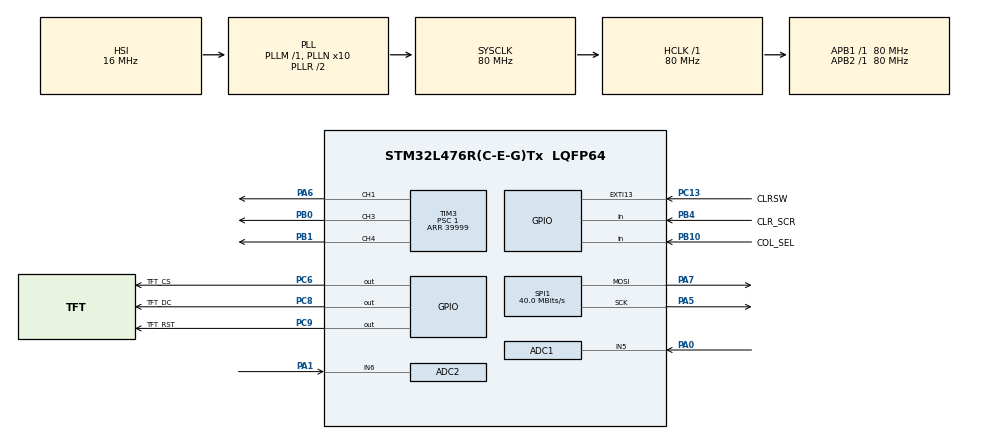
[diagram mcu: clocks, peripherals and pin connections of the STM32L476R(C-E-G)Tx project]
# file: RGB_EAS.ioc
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ADC1.Channel-0\#ChannelRegularConversion=ADC_CHANNEL_5
ADC1.NbrOfConversionFlag=1
ADC1.OffsetNumber-0\#ChannelRegularConversion=ADC_OFFSET_NONE
ADC1.Rank-0\#ChannelRegularConversion=1
ADC1.SamplingTime-0\#ChannelRegularConversion=ADC_SAMPLETIME_2CYCLES_5
ADC1.master=1
ADC2.Channel-0\#ChannelRegularConversion=ADC_CHANNEL_6
ADC2.NbrOfConversionFlag=1
ADC2.OffsetNumber-0\#ChannelRegularConversion=ADC_OFFSET_NONE
ADC2.Rank-0\#ChannelRegularConversion=1
ADC2.SamplingTime-0\#ChannelRegularConversion=ADC_SAMPLETIME_2CYCLES_5
Mcu.Family=STM32L4
Mcu.Name=STM32L476R(C-E-G)Tx
Mcu.Package=LQFP64
NVIC.ADC1_2_IRQn=true\:0\:0\:false\:false\:true\:true\:true\:true
NVIC.EXTI15_10_IRQn=true\:0\:0\:false\:false\:true\:true\:true\:true
NVIC.PriorityGroup=NVIC_PRIORITYGROUP_4
NVIC.SPI1_IRQn=true\:0\:0\:false\:false\:true\:true\:true\:true
NVIC.TIM1_UP_TIM16_IRQn=true\:0\:0\:false\:false\:true\:true\:true\:true
PA0.Signal=ADCx_IN5
PA1.Signal=ADCx_IN6
PA13\ (JTMS-SWDIO).GPIO_Label=TMS
PA13\ (JTMS-SWDIO).Mode=Serial_Wire
PA13\ (JTMS-SWDIO).Signal=SYS_JTMS-SWDIO
PA14\ (JTCK-SWCLK).GPIO_Label=TCK
PA14\ (JTCK-SWCLK).Mode=Serial_Wire
PA14\ (JTCK-SWCLK).Signal=SYS_JTCK-SWCLK
PA5.Mode=TX_Only_Simplex_Unidirect_Master
PA5.Signal=SPI1_SCK
PA6.Signal=S_TIM3_CH1
PA7.Mode=TX_Only_Simplex_Unidirect_Master
PA7.Signal=SPI1_MOSI
PB0.Signal=S_TIM3_CH3
PB1.Signal=S_TIM3_CH4
PB10.GPIO_Label=COL_SEL
PB10.Signal=GPIO_Input
PB3\ (JTDO-TRACESWO).GPIO_Label=SWO
PB3\ (JTDO-TRACESWO).Signal=SYS_JTDO-SWO
PB4\ (NJTRST).GPIO_Label=CLR_SCR
PB4\ (NJTRST).Signal=GPIO_Input
PC13.GPIO_Label=CLRSW
PC13.Signal=GPXTI13
PC14-OSC32_IN\ (PC14).Mode=LSE-External-Oscillator
PC14-OSC32_IN\ (PC14).Signal=RCC_OSC32_IN
PC15-OSC32_OUT\ (PC15).Mode=LSE-External-Oscillator
PC15-OSC32_OUT\ (PC15).Signal=RCC_OSC32_OUT
PC6.GPIO_Label=TFT_CS
PC6.Signal=GPIO_Output
PC8.GPIO_Label=TFT_DC
PC8.Signal=GPIO_Output
PC9.GPIO_Label=TFT_RST
PC9.Signal=GPIO_Output
PH0-OSC_IN\ (PH0).Signal=RCC_OSC_IN
PH1-OSC_OUT\ (PH1).Signal=RCC_OSC_OUT
ProjectManager.HeapSize=0x200
ProjectManager.StackSize=0x400
ProjectManager.TargetToolchain=STM32CubeIDE
RCC.ADCFreq_Value=64000000
RCC.AHBFreq_Value=80000000
RCC.APB1Freq_Value=80000000
RCC.APB1TimFreq_Value=80000000
RCC.APB2Freq_Value=80000000
RCC.APB2TimFreq_Value=80000000
RCC.CortexFreq_Value=80000000
RCC.HCLKFreq_Value=80000000
RCC.HSE_VALUE=8000000
RCC.HSI_VALUE=16000000
RCC.MSI_VALUE=4000000
RCC.PLLN=10
RCC.PLLSourceVirtual=RCC_PLLSOURCE_HSI
RCC.PREFETCH_ENABLE=1
RCC.SYSCLKFreq_VALUE=80000000
RCC.SYSCLKSource=RCC_SYSCLKSOURCE_PLLCLK
RCC.USBFreq_Value=64000000
RCC.VCOOutputFreq_Value=160000000
SH.ADCx_IN5.0=ADC1_IN5,IN5-Single-Ended
SH.ADCx_IN6.0=ADC2_IN6,IN6-Single-Ended
SH.S_TIM3_CH1.0=TIM3_CH1,PWM Generation1 CH1
SH.S_TIM3_CH3.0=TIM3_CH3,PWM Generation3 CH3
SH.S_TIM3_CH4.0=TIM3_CH4,PWM Generation4 CH4
SPI1.CalculateBaudRate=40.0 MBits/s
SPI1.DataSize=SPI_DATASIZE_8BIT
SPI1.Direction=SPI_DIRECTION_2LINES
SPI1.Mode=SPI_MODE_MASTER
SPI1.VirtualType=VM_MASTER
TIM16.AutoReloadPreload=TIM_AUTORELOAD_PRELOAD_ENABLE
TIM16.Period=64
TIM16.Prescaler=7999
TIM3.AutoReloadPreload=TIM_AUTORELOAD_PRELOAD_ENABLE
TIM3.Channel-PWM\ Generation1\ CH1=TIM_CHANNEL_1
TIM3.Channel-PWM\ Generation3\ CH3=TIM_CHANNEL_3
TIM3.Channel-PWM\ Generation4\ CH4=TIM_CHANNEL_4
TIM3.Period=39999
TIM3.Prescaler=1
VP_TIM16_VS_ClockSourceINT.Mode=Enable_Timer
VP_TIM3_VS_ClockSourceINT.Mode=Internal
board=NUCLEO-L476RG

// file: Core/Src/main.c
/* USER CODE BEGIN Header */
/**
  ******************************************************************************
  * @file           : main.c
  * @brief          : Main program body
  ******************************************************************************
  * @attention
  *
  * Copyright (c) 2025 STMicroelectronics.
  * All rights reserved.
  *
  * This software is licensed under terms that can be found in the LICENSE file
  * in the root directory of this software component.
  * If no LICENSE file comes with this software, it is provided AS-IS.
  *
  ******************************************************************************
  */
/* USER CODE END Header */
#include "main.h"

/* USER CODE BEGIN Includes */
#include "ili9488.h"
/* USER CODE END Includes */

ADC_HandleTypeDef hadc1;
ADC_HandleTypeDef hadc2;

SPI_HandleTypeDef hspi1;

TIM_HandleTypeDef htim3;
TIM_HandleTypeDef htim16;

/* USER CODE BEGIN PV */
uint16_t x_loc = 200;
uint16_t y_loc = 200;
uint8_t cursor_size = 4;
uint16_t current_color=ILI9488_BLACK;
uint16_t c_range=0;
uint16_t red_int=0;
uint16_t green_int=0;
uint16_t blue_int=0;
/* USER CODE END PV */

void SystemClock_Config(void);
void PeriphCommonClock_Config(void);
static void MX_GPIO_Init(void);
static void MX_ADC1_Init(void);
static void MX_ADC2_Init(void);
static void MX_SPI1_Init(void);
static void MX_TIM3_Init(void);
static void MX_TIM16_Init(void);

int main(void)
{

  /* MCU Configuration--------------------------------------------------------*/

  /* Reset of all peripherals, Initializes the Flash interface and the Systick. */
  HAL_Init();

  /* Configure the system clock */
  SystemClock_Config();

  /* Configure the peripherals common clocks */
  PeriphCommonClock_Config();

  /* Initialize all configured peripherals */
  MX_GPIO_Init();
  MX_ADC1_Init();
  MX_ADC2_Init();
  MX_SPI1_Init();
  MX_TIM3_Init();
  MX_TIM16_Init();
  /* USER CODE BEGIN 2 */
  __HAL_SPI_ENABLE(&hspi1);
  ILI9488_Init();

  HAL_Delay(1000);
	setRotation(1);
	fillScreen(ILI9488_WHITE);

	HAL_TIM_Base_Start_IT(&htim16); // Start Timer16 -- issue here, wont continue/breaks
	HAL_TIM_PWM_Start(&htim3, TIM_CHANNEL_1); // start PWM on Timer3’s Channel 1
	HAL_TIM_PWM_Start(&htim3, TIM_CHANNEL_3); // start PWM on Timer3’s Channel 3
	HAL_TIM_PWM_Start(&htim3, TIM_CHANNEL_4); // start PWM on Timer3’s Channel 4
  /* USER CODE END 2 */

  /* Infinite loop */
  while (1)
  {

    /* USER CODE BEGIN 3 */
	  fillRect(x_loc,y_loc,cursor_size,cursor_size,current_color); //this is your active cursor.

  }
  /* USER CODE END 3 */
}

void SystemClock_Config(void)
{
  RCC_OscInitTypeDef RCC_OscInitStruct = {0};
  RCC_ClkInitTypeDef RCC_ClkInitStruct = {0};

  /** Configure the main internal regulator output voltage
  */
  if (HAL_PWREx_ControlVoltageScaling(PWR_REGULATOR_VOLTAGE_SCALE1) != HAL_OK)
  {
    Error_Handler();
  }

  /** Initializes the RCC Oscillators according to the specified parameters
  * in the RCC_OscInitTypeDef structure.
  */
  RCC_OscInitStruct.OscillatorType = RCC_OSCILLATORTYPE_HSI;
  RCC_OscInitStruct.HSIState = RCC_HSI_ON;
  RCC_OscInitStruct.HSICalibrationValue = RCC_HSICALIBRATION_DEFAULT;
  RCC_OscInitStruct.PLL.PLLState = RCC_PLL_ON;
  RCC_OscInitStruct.PLL.PLLSource = RCC_PLLSOURCE_HSI;
  RCC_OscInitStruct.PLL.PLLM = 1;
  RCC_OscInitStruct.PLL.PLLN = 10;
  RCC_OscInitStruct.PLL.PLLP = RCC_PLLP_DIV7;
  RCC_OscInitStruct.PLL.PLLQ = RCC_PLLQ_DIV2;
  RCC_OscInitStruct.PLL.PLLR = RCC_PLLR_DIV2;
  if (HAL_RCC_OscConfig(&RCC_OscInitStruct) != HAL_OK)
  {
    Error_Handler();
  }

  /** Initializes the CPU, AHB and APB buses clocks
  */
  RCC_ClkInitStruct.ClockType = RCC_CLOCKTYPE_HCLK|RCC_CLOCKTYPE_SYSCLK
                              |RCC_CLOCKTYPE_PCLK1|RCC_CLOCKTYPE_PCLK2;
  RCC_ClkInitStruct.SYSCLKSource = RCC_SYSCLKSOURCE_PLLCLK;
  RCC_ClkInitStruct.AHBCLKDivider = RCC_SYSCLK_DIV1;
  RCC_ClkInitStruct.APB1CLKDivider = RCC_HCLK_DIV1;
  RCC_ClkInitStruct.APB2CLKDivider = RCC_HCLK_DIV1;

  if (HAL_RCC_ClockConfig(&RCC_ClkInitStruct, FLASH_LATENCY_4) != HAL_OK)
  {
    Error_Handler();
  }
}

void PeriphCommonClock_Config(void)
{
  RCC_PeriphCLKInitTypeDef PeriphClkInit = {0};

  /** Initializes the peripherals clock
  */
  PeriphClkInit.PeriphClockSelection = RCC_PERIPHCLK_ADC;
  PeriphClkInit.AdcClockSelection = RCC_ADCCLKSOURCE_PLLSAI1;
  PeriphClkInit.PLLSAI1.PLLSAI1Source = RCC_PLLSOURCE_HSI;
  PeriphClkInit.PLLSAI1.PLLSAI1M = 1;
  PeriphClkInit.PLLSAI1.PLLSAI1N = 8;
  PeriphClkInit.PLLSAI1.PLLSAI1P = RCC_PLLP_DIV7;
  PeriphClkInit.PLLSAI1.PLLSAI1Q = RCC_PLLQ_DIV2;
  PeriphClkInit.PLLSAI1.PLLSAI1R = RCC_PLLR_DIV2;
  PeriphClkInit.PLLSAI1.PLLSAI1ClockOut = RCC_PLLSAI1_ADC1CLK;
  if (HAL_RCCEx_PeriphCLKConfig(&PeriphClkInit) != HAL_OK)
  {
    Error_Handler();
  }
}

static void MX_ADC1_Init(void)
{

  ADC_MultiModeTypeDef multimode = {0};
  ADC_ChannelConfTypeDef sConfig = {0};

  /** Common config
  */
  hadc1.Instance = ADC1;
  hadc1.Init.ClockPrescaler = ADC_CLOCK_ASYNC_DIV1;
  hadc1.Init.Resolution = ADC_RESOLUTION_12B;
  hadc1.Init.DataAlign = ADC_DATAALIGN_RIGHT;
  hadc1.Init.ScanConvMode = ADC_SCAN_DISABLE;
  hadc1.Init.EOCSelection = ADC_EOC_SINGLE_CONV;
  hadc1.Init.LowPowerAutoWait = DISABLE;
  hadc1.Init.ContinuousConvMode = DISABLE;
  hadc1.Init.NbrOfConversion = 1;
  hadc1.Init.DiscontinuousConvMode = DISABLE;
  hadc1.Init.ExternalTrigConv = ADC_SOFTWARE_START;
  hadc1.Init.ExternalTrigConvEdge = ADC_EXTERNALTRIGCONVEDGE_NONE;
  hadc1.Init.DMAContinuousRequests = DISABLE;
  hadc1.Init.Overrun = ADC_OVR_DATA_PRESERVED;
  hadc1.Init.OversamplingMode = DISABLE;
  if (HAL_ADC_Init(&hadc1) != HAL_OK)
  {
    Error_Handler();
  }

  /** Configure the ADC multi-mode
  */
  multimode.Mode = ADC_MODE_INDEPENDENT;
  if (HAL_ADCEx_MultiModeConfigChannel(&hadc1, &multimode) != HAL_OK)
  {
    Error_Handler();
  }

  /** Configure Regular Channel
  */
  sConfig.Channel = ADC_CHANNEL_5;
  sConfig.Rank = ADC_REGULAR_RANK_1;
  sConfig.SamplingTime = ADC_SAMPLETIME_2CYCLES_5;
  sConfig.SingleDiff = ADC_SINGLE_ENDED;
  sConfig.OffsetNumber = ADC_OFFSET_NONE;
  sConfig.Offset = 0;
  if (HAL_ADC_ConfigChannel(&hadc1, &sConfig) != HAL_OK)
  {
    Error_Handler();
  }

}

static void MX_ADC2_Init(void)
{

  ADC_ChannelConfTypeDef sConfig = {0};

  /** Common config
  */
  hadc2.Instance = ADC2;
  hadc2.Init.ClockPrescaler = ADC_CLOCK_ASYNC_DIV1;
  hadc2.Init.Resolution = ADC_RESOLUTION_12B;
  hadc2.Init.DataAlign = ADC_DATAALIGN_RIGHT;
  hadc2.Init.ScanConvMode = ADC_SCAN_DISABLE;
  hadc2.Init.EOCSelection = ADC_EOC_SINGLE_CONV;
  hadc2.Init.LowPowerAutoWait = DISABLE;
  hadc2.Init.ContinuousConvMode = DISABLE;
  hadc2.Init.NbrOfConversion = 1;
  hadc2.Init.DiscontinuousConvMode = DISABLE;
  hadc2.Init.ExternalTrigConv = ADC_SOFTWARE_START;
  hadc2.Init.ExternalTrigConvEdge = ADC_EXTERNALTRIGCONVEDGE_NONE;
  hadc2.Init.DMAContinuousRequests = DISABLE;
  hadc2.Init.Overrun = ADC_OVR_DATA_PRESERVED;
  hadc2.Init.OversamplingMode = DISABLE;
  if (HAL_ADC_Init(&hadc2) != HAL_OK)
  {
    Error_Handler();
  }

  /** Configure Regular Channel
  */
  sConfig.Channel = ADC_CHANNEL_6;
  sConfig.Rank = ADC_REGULAR_RANK_1;
  sConfig.SamplingTime = ADC_SAMPLETIME_2CYCLES_5;
  sConfig.SingleDiff = ADC_SINGLE_ENDED;
  sConfig.OffsetNumber = ADC_OFFSET_NONE;
  sConfig.Offset = 0;
  if (HAL_ADC_ConfigChannel(&hadc2, &sConfig) != HAL_OK)
  {
    Error_Handler();
  }

}

static void MX_SPI1_Init(void)
{

  /* SPI1 parameter configuration*/
  hspi1.Instance = SPI1;
  hspi1.Init.Mode = SPI_MODE_MASTER;
  hspi1.Init.Direction = SPI_DIRECTION_2LINES;
  hspi1.Init.DataSize = SPI_DATASIZE_8BIT;
  hspi1.Init.CLKPolarity = SPI_POLARITY_LOW;
  hspi1.Init.CLKPhase = SPI_PHASE_1EDGE;
  hspi1.Init.NSS = SPI_NSS_SOFT;
  hspi1.Init.BaudRatePrescaler = SPI_BAUDRATEPRESCALER_2;
  hspi1.Init.FirstBit = SPI_FIRSTBIT_MSB;
  hspi1.Init.TIMode = SPI_TIMODE_DISABLE;
  hspi1.Init.CRCCalculation = SPI_CRCCALCULATION_DISABLE;
  hspi1.Init.CRCPolynomial = 7;
  hspi1.Init.CRCLength = SPI_CRC_LENGTH_DATASIZE;
  hspi1.Init.NSSPMode = SPI_NSS_PULSE_ENABLE;
  if (HAL_SPI_Init(&hspi1) != HAL_OK)
  {
    Error_Handler();
  }

}

static void MX_TIM3_Init(void)
{

  TIM_ClockConfigTypeDef sClockSourceConfig = {0};
  TIM_MasterConfigTypeDef sMasterConfig = {0};
  TIM_OC_InitTypeDef sConfigOC = {0};

  htim3.Instance = TIM3;
  htim3.Init.Prescaler = 1;
  htim3.Init.CounterMode = TIM_COUNTERMODE_UP;
  htim3.Init.Period = 39999;
  htim3.Init.ClockDivision = TIM_CLOCKDIVISION_DIV1;
  htim3.Init.AutoReloadPreload = TIM_AUTORELOAD_PRELOAD_ENABLE;
  if (HAL_TIM_Base_Init(&htim3) != HAL_OK)
  {
    Error_Handler();
  }
  sClockSourceConfig.ClockSource = TIM_CLOCKSOURCE_INTERNAL;
  if (HAL_TIM_ConfigClockSource(&htim3, &sClockSourceConfig) != HAL_OK)
  {
    Error_Handler();
  }
  if (HAL_TIM_PWM_Init(&htim3) != HAL_OK)
  {
    Error_Handler();
  }
  sMasterConfig.MasterOutputTrigger = TIM_TRGO_RESET;
  sMasterConfig.MasterSlaveMode = TIM_MASTERSLAVEMODE_DISABLE;
  if (HAL_TIMEx_MasterConfigSynchronization(&htim3, &sMasterConfig) != HAL_OK)
  {
    Error_Handler();
  }
  sConfigOC.OCMode = TIM_OCMODE_PWM1;
  sConfigOC.Pulse = 0;
  sConfigOC.OCPolarity = TIM_OCPOLARITY_HIGH;
  sConfigOC.OCFastMode = TIM_OCFAST_DISABLE;
  if (HAL_TIM_PWM_ConfigChannel(&htim3, &sConfigOC, TIM_CHANNEL_1) != HAL_OK)
  {
    Error_Handler();
  }
  if (HAL_TIM_PWM_ConfigChannel(&htim3, &sConfigOC, TIM_CHANNEL_3) != HAL_OK)
  {
    Error_Handler();
  }
  if (HAL_TIM_PWM_ConfigChannel(&htim3, &sConfigOC, TIM_CHANNEL_4) != HAL_OK)
  {
    Error_Handler();
  }
  HAL_TIM_MspPostInit(&htim3);

}

static void MX_TIM16_Init(void)
{

  htim16.Instance = TIM16;
  htim16.Init.Prescaler = 7999;
  htim16.Init.CounterMode = TIM_COUNTERMODE_UP;
  htim16.Init.Period = 64;
  htim16.Init.ClockDivision = TIM_CLOCKDIVISION_DIV1;
  htim16.Init.RepetitionCounter = 0;
  htim16.Init.AutoReloadPreload = TIM_AUTORELOAD_PRELOAD_ENABLE;
  if (HAL_TIM_Base_Init(&htim16) != HAL_OK)
  {
    Error_Handler();
  }

}

static void MX_GPIO_Init(void)
{
  GPIO_InitTypeDef GPIO_InitStruct = {0};

  /* GPIO Ports Clock Enable */
  __HAL_RCC_GPIOC_CLK_ENABLE();
  __HAL_RCC_GPIOH_CLK_ENABLE();
  __HAL_RCC_GPIOA_CLK_ENABLE();
  __HAL_RCC_GPIOB_CLK_ENABLE();

  /*Configure GPIO pin Output Level */
  HAL_GPIO_WritePin(GPIOC, TFT_CS_Pin|TFT_DC_Pin|TFT_RST_Pin, GPIO_PIN_RESET);

  /*Configure GPIO pin : CLRSW_Pin */
  GPIO_InitStruct.Pin = CLRSW_Pin;
  GPIO_InitStruct.Mode = GPIO_MODE_IT_RISING;
  GPIO_InitStruct.Pull = GPIO_NOPULL;
  HAL_GPIO_Init(CLRSW_GPIO_Port, &GPIO_InitStruct);

  /*Configure GPIO pins : COL_SEL_Pin CLR_SCR_Pin */
  GPIO_InitStruct.Pin = COL_SEL_Pin|CLR_SCR_Pin;
  GPIO_InitStruct.Mode = GPIO_MODE_INPUT;
  GPIO_InitStruct.Pull = GPIO_NOPULL;
  HAL_GPIO_Init(GPIOB, &GPIO_InitStruct);

  /*Configure GPIO pins : TFT_CS_Pin TFT_DC_Pin TFT_RST_Pin */
  GPIO_InitStruct.Pin = TFT_CS_Pin|TFT_DC_Pin|TFT_RST_Pin;
  GPIO_InitStruct.Mode = GPIO_MODE_OUTPUT_PP;
  GPIO_InitStruct.Pull = GPIO_NOPULL;
  GPIO_InitStruct.Speed = GPIO_SPEED_FREQ_LOW;
  HAL_GPIO_Init(GPIOC, &GPIO_InitStruct);

  /* EXTI interrupt init*/
  HAL_NVIC_SetPriority(EXTI15_10_IRQn, 0, 0);
  HAL_NVIC_EnableIRQ(EXTI15_10_IRQn);

}

/* USER CODE BEGIN 4 */
void HAL_TIM_PeriodElapsedCallback(TIM_HandleTypeDef *htim)
{
 // Check which timer triggered this callback
 if (htim == &htim16) // if the triggered timer was Timer 16
 {
 int ADC_RANGE = 4096; // 2^12 (12-bit resolution)
 int PWM_PERIOD = 40000;
 // Start ADC Conversions
 HAL_ADC_Start(&hadc1);
 HAL_ADC_Start(&hadc2);
 // Wait for ADC conversions to complete
 HAL_ADC_PollForConversion(&hadc1, HAL_MAX_DELAY);
 HAL_ADC_PollForConversion(&hadc2, HAL_MAX_DELAY);
 // Read ADC values
 uint16_t xjoy_measurement = HAL_ADC_GetValue(&hadc1);
 uint16_t yjoy_measurement = HAL_ADC_GetValue(&hadc2);
 // Convert ADC levels to a fraction of total
 	 x_loc = 480 - xjoy_measurement*480/ADC_RANGE;
 	 y_loc = 320 - yjoy_measurement*320/ADC_RANGE;

 	TIM3->CCR1 = (int) (blue_int * PWM_PERIOD); // blue
 	 TIM3->CCR3 = (int) (green_int * PWM_PERIOD); // green
 	 TIM3->CCR4 = (int) (red_int * PWM_PERIOD); // red
 }
}
void HAL_GPIO_EXTI_Callback(uint16_t GPIO_Pin) {

	// Check if the interrupt was for Disarm Button
	if (GPIO_Pin == CLRSW_Pin) {
		c_range+=1;
	}
	//this cycles through a color wheel to select different colors.
	if(c_range==0){
		   		 current_color=ILI9488_BLACK;
			   	red_int=0;
			   	green_int=0;
			   	blue_int=0;
		   	 }else if(c_range==1){
		   		 current_color=ILI9488_RED;
		   		 red_int=255;
		   		 green_int=0;
		   		 blue_int=0;
		   	 }else if(c_range==2){
		   		 current_color=ILI9488_ORANGE;
		   		red_int=150;
		   		green_int=255;
		   		blue_int=0;
		   	 }else if(c_range==3){
		   		 current_color=ILI9488_YELLOW;
			   		red_int=150;
			   		green_int=255;
			   		blue_int=0;
		   	 }else if(c_range==4){
		   		 current_color=ILI9488_GREEN;
			   		red_int=0;
			   		green_int=255;
			   		blue_int=0;
		   	 }else if(c_range==5){
		   		 current_color=ILI9488_BLUE;
			   		red_int=0;
			   		green_int=0;
			   		blue_int=255;
		   	 }else if(c_range==6){
		   		 current_color=ILI9488_PURPLE;
			   		red_int=120;
			   		green_int=0;
			   		blue_int=255;
		   	 }else if(c_range==7){
		   		 current_color=ILI9488_PINK;
			   		red_int=140;
			   		green_int=0;
			   		blue_int=50;
		   	 }else{
		   		 c_range=0;
		   		current_color=ILI9488_BLACK;
				red_int=0;
				green_int=0;
				blue_int=0;
		   	 }
}

/* USER CODE END 4 */

void Error_Handler(void)
{
  __disable_irq();
  while (1)
  {
  }
}
